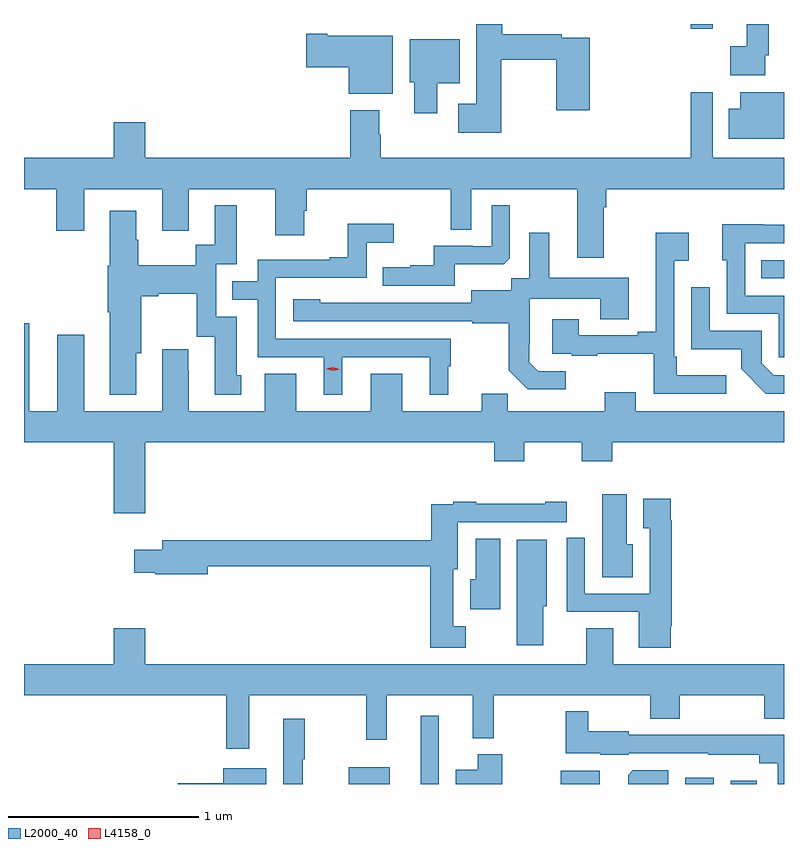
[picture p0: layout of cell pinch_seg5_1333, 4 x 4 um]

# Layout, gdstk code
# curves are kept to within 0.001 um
import gdstk
lib = gdstk.Library(unit=1e-6, precision=1e-09)
def R(c, l, rs):  # rectangles x0, y0, x1, y1
    for r in rs: c.add(gdstk.rectangle(r[:2], r[2:], *l))
def P(c, l, *ps):  # polygons
    for p in ps: c.add(gdstk.Polygon(p, *l))
L2000_40 = (2000, 40)
L4158_0 = (4158, 0)

pinch_seg5_1333 = lib.new_cell('pinch_seg5_1333')
R(pinch_seg5_1333, L2000_40, [(250.16,885.597,250.375,885.685), (250.538,885.597,250.635,885.955), (251.276,885.597,251.482,885.668), (251.93,885.597,252.082,885.631), (252.17,885.597,252.307,885.613), (252.331,888.258,252.451,888.354), (251.959,889.572,252.077,889.597)])
P(pinch_seg5_1333, L2000_40, [(250.962,889.408),(251.251,889.408),(251.251,889.143),(251.429,889.143),(251.429,889.524),(251.282,889.524),(251.282,889.544),(250.967,889.544),(250.967,889.597),(250.832,889.597),(250.832,889.177),(250.737,889.177),(250.737,889.025),(250.962,889.025)],
  [(252.351,889.432),(252.371,889.432),(252.371,889.597),(252.254,889.597),(252.254,889.481),(252.168,889.481),(252.168,889.328),(252.351,889.328)],
  [(250.393,889.534),(250.048,889.534),(250.048,889.547),(249.936,889.547),(249.936,889.369),(250.16,889.369),(250.16,889.229),(250.393,889.229)],
  [(250.627,889.286),(250.744,889.286),(250.744,889.516),(250.481,889.516),(250.481,889.29),(250.505,889.29),(250.505,889.128),(250.627,889.128)],
  [(252.451,889.237),(252.221,889.237),(252.221,889.15),(252.16,889.15),(252.16,888.992),(252.451,888.992)],
  [(250.329,889.013),(250.321,889.013),(250.321,889.144),(250.169,889.144),(250.169,888.892),(249.088,888.892),(249.088,889.081),(248.924,889.081),(248.924,888.892),(248.451,888.892),(248.451,888.728),(248.62,888.728),(248.62,888.51),(248.767,888.51),(248.767,888.728),(249.179,888.728),(249.179,888.51),(249.319,888.51),(249.319,888.728),(249.773,888.728),(249.773,888.486),(249.925,888.486),(249.925,888.615),(249.938,888.615),(249.938,888.728),(250.698,888.728),(250.698,888.514),(250.806,888.514),(250.806,888.728),(251.363,888.728),(251.363,888.366),(251.503,888.366),(251.503,888.632),(251.516,888.632),(251.516,888.728),(252.451,888.728),(252.451,888.892),(252.075,888.892),(252.075,889.237),(251.959,889.237),(251.959,888.892),(250.329,888.892)],
  [(249.043,887.865),(249.069,887.865),(249.069,888.164),(249.157,888.164),(249.157,888.176),(249.359,888.176),(249.359,887.952),(249.455,887.952),(249.455,887.646),(249.595,887.646),(249.595,887.748),(249.571,887.748),(249.571,888.057),(249.462,888.057),(249.462,888.333),(249.571,888.333),(249.571,888.643),(249.455,888.643),(249.455,888.434),(249.354,888.434),(249.354,888.328),(249.051,888.328),(249.051,888.462),(249.043,888.462),(249.043,888.613),(248.903,888.613),(248.903,888.324),(248.891,888.324),(248.891,888.08),(248.903,888.08),(248.903,887.645),(249.043,887.645)],
  [(250.717,888.332),(250.975,888.332),(251.007,888.363),(251.007,888.643),(250.914,888.643),(250.914,888.426),(250.814,888.426),(250.814,888.429),(250.607,888.429),(250.607,888.328),(250.483,888.328),(250.483,888.316),(250.339,888.316),(250.339,888.219),(250.717,888.219)],
  [(250.126,887.844),(250.586,887.844),(250.586,887.645),(250.684,887.645),(250.684,887.796),(250.696,887.796),(250.696,887.94),(249.777,887.94),(249.777,888.261),(250.254,888.261),(250.254,888.446),(250.396,888.446),(250.396,888.545),(250.156,888.545),(250.156,888.37),(250.061,888.37),(250.061,888.357),(249.681,888.357),(249.681,888.243),(249.547,888.243),(249.547,888.147),(249.681,888.147),(249.681,887.844),(250.028,887.844),(250.028,887.645),(250.126,887.645)],
  [(252.451,888.168),(252.246,888.168),(252.246,888.444),(252.451,888.444),(252.451,888.54),(252.343,888.54),(252.343,888.542),(252.125,888.542),(252.125,888.354),(252.15,888.354),(252.15,888.072),(252.423,888.072),(252.423,887.844),(252.451,887.844)],
  [(251.302,887.769),(251.157,887.769),(251.11,887.816),(251.11,887.911),(251.112,887.911),(251.112,888.152),(251.483,888.152),(251.483,888.043),(251.635,888.043),(251.635,888.262),(251.215,888.262),(251.215,888.499),(251.111,888.499),(251.111,888.26),(251.016,888.26),(251.016,888.196),(250.805,888.196),(250.805,888.129),(250.011,888.13),(250.011,888.148),(249.867,888.148),(249.867,888.033),(250.809,888.033),(250.809,888.021),(251.001,888.021),(251.001,887.775),(251.101,887.675),(251.302,887.675)],
  [(252.148,887.749),(251.887,887.749),(251.887,887.845),(251.874,887.845),(251.874,888.35),(251.95,888.35),(251.95,888.499),(251.777,888.499),(251.777,887.977),(251.681,887.977),(251.681,887.958),(251.371,887.958),(251.371,888.043),(251.231,888.043),(251.231,887.862),(251.335,887.862),(251.335,887.85),(251.467,887.85),(251.467,887.861),(251.766,887.861),(251.766,887.652),(252.148,887.652)],
  [(252.451,887.748),(252.396,887.748),(252.333,887.811),(252.333,887.982),(252.06,887.982),(252.06,888.211),(251.964,888.211),(251.964,887.885),(252.226,887.885),(252.226,887.783),(252.356,887.652),(252.451,887.652)],
  [(249.088,887.396),(250.925,887.396),(250.925,887.297),(251.085,887.297),(251.085,887.396),(251.386,887.396),(251.386,887.297),(251.546,887.297),(251.546,887.396),(252.451,887.396),(252.451,887.56),(251.671,887.56),(251.671,887.659),(251.507,887.659),(251.507,887.56),(250.997,887.56),(250.997,887.651),(250.859,887.651),(250.859,887.56),(250.441,887.56),(250.441,887.755),(250.277,887.755),(250.277,887.56),(249.883,887.56),(249.883,887.755),(249.719,887.755),(249.719,887.56),(249.319,887.56),(249.319,887.771),(249.316,887.771),(249.316,887.884),(249.179,887.884),(249.179,887.56),(248.767,887.56),(248.767,887.962),(248.627,887.962),(248.627,887.56),(248.479,887.56),(248.479,888.022),(248.451,888.022),(248.451,887.396),(248.924,887.396),(248.924,887.022),(249.088,887.022)],
  [(251.656,886.858),(251.623,886.858),(251.623,887.122),(251.495,887.122),(251.495,886.684),(251.656,886.684)],
  [(251.855,886.426),(251.861,886.426),(251.861,886.985),(251.854,886.985),(251.854,887.098),(251.711,887.098),(251.711,886.942),(251.745,886.942),(251.745,886.599),(251.403,886.599),(251.403,886.893),(251.307,886.893),(251.307,886.503),(251.687,886.503),(251.687,886.314),(251.855,886.314)],
  [(250.777,886.426),(250.711,886.426),(250.711,886.728),(250.735,886.728),(250.735,886.974),(251.307,886.974),(251.307,887.083),(251.195,887.083),(251.195,887.073),(250.831,887.073),(250.831,887.083),(250.711,887.083),(250.711,887.07),(250.595,887.07),(250.595,886.88),(249.179,886.88),(249.179,886.831),(249.03,886.831),(249.03,886.709),(249.142,886.709),(249.142,886.702),(249.418,886.702),(249.418,886.744),(250.59,886.744),(250.59,886.313),(250.777,886.313)],
  [(250.957,886.889),(250.829,886.889),(250.829,886.674),(250.799,886.674),(250.799,886.518),(250.957,886.518)],
  [(251.185,886.533),(251.203,886.533),(251.203,886.882),(251.045,886.882),(251.045,886.326),(251.185,886.326)],
  [(249.637,886.064),(250.251,886.064),(250.251,885.831),(250.361,885.831),(250.361,886.064),(250.814,886.064),(250.814,885.839),(250.924,885.839),(250.924,886.064),(251.746,886.064),(251.746,885.94),(251.901,885.94),(251.901,886.064),(252.346,886.064),(252.346,885.941),(252.451,885.941),(252.451,886.228),(251.551,886.228),(251.551,886.418),(251.411,886.418),(251.411,886.228),(249.088,886.228),(249.088,886.417),(248.924,886.417),(248.924,886.228),(248.451,886.228),(248.451,886.064),(249.516,886.064),(249.516,885.783),(249.637,885.783)],
  [(252.451,885.855),(252.283,885.855),(252.283,885.857),(252.051,885.857),(252.051,885.855),(251.634,885.855),(251.634,885.874),(251.422,885.874),(251.422,885.979),(251.301,885.979),(251.301,885.758),(251.484,885.758),(251.484,885.752),(251.634,885.752),(251.634,885.759),(252.051,885.759),(252.051,885.752),(252.32,885.752),(252.32,885.707),(252.417,885.707),(252.417,885.597),(252.451,885.597)],
  [(249.919,885.726),(249.929,885.726),(249.929,885.94),(249.815,885.94),(249.815,885.597),(249.919,885.597)],
  [(250.968,885.754),(250.838,885.754),(250.838,885.673),(250.724,885.673),(250.724,885.597),(250.968,885.597)],
  [(249.727,885.679),(249.5,885.679),(249.5,885.601),(249.26,885.601),(249.26,885.597),(249.727,885.597)],
  [(251.842,885.67),(251.656,885.67),(251.63,885.644),(251.63,885.597),(251.842,885.597)])
P(pinch_seg5_1333, L4158_0, [(250.077,887.771),(250.041,887.782),(250.041,887.782),(250.041,887.782),(250.077,887.791),(250.112,887.781),(250.113,887.781),(250.112,887.78)])

lib.write_gds('pinch_seg5_1333.gds')
